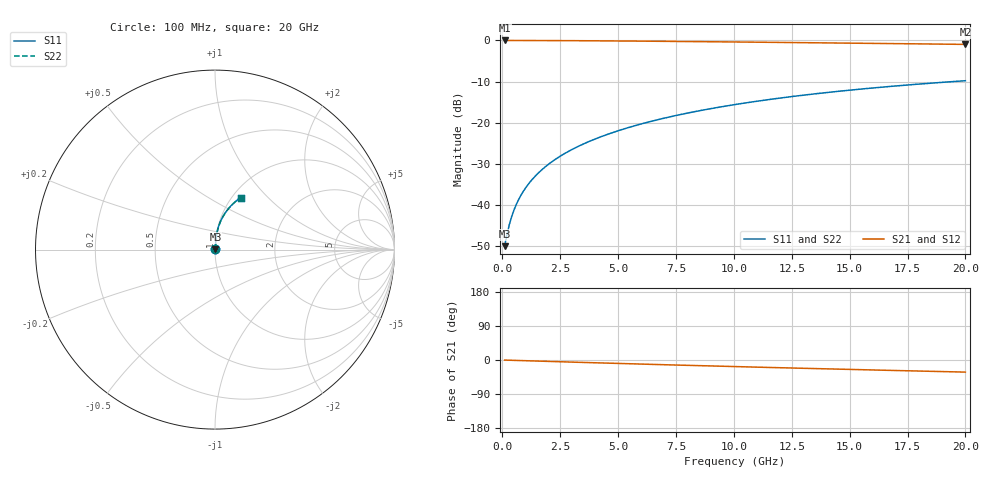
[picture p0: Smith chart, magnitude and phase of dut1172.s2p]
! Touchstone file exported from HFSS 2024.1.0
!  File:  C:/UserFiles/LocalFiles/RDL_TSV_Batchsim/temp_RDL_top_1172_1780048910.aedt
!  Generated:  06:04:07 PM May 29, 2026
!  Design:  RDL_top
!  Project:  temp_RDL_top_1172_1780048910
!  Setup:  Setup1
!  Solution:  Sweep
! Variables:
!  dtsv = 10.80580581um
!  hbump = 3um
!  htsv = 74.77um
!  ldown = 100um
!  lrdl = 424.38um
!  p = 40
!  p1 = 48.78um
!  rhole = 1um
!  t = 450um
!  tdown = 3.915915916um
!  trdl = 3.01um
!  wdown = 15.38538539um
!  wrdl = 20.31um
# GHz S MA R 50.000000
! Terminal data exported
! Port[1] = Box2_T1
! Port[2] = Box2_T2
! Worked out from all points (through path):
!   200 points, 100 MHz to 20 GHz, reference 50 ohm
!   highest |S21| = -0.02 dB at 100 MHz (marker M1); lowest = -1.0 dB at 20 GHz (marker M2)
!   group delay of S21, straight-line fit = 4.41 ps
!   lowest |S11| = -50.0 dB at 100 MHz (marker M3), VSWR 1.01, Z = 50.3 + j0.17 ohm
!   |S11| at or under -10 dB: start of sweep to 19.48 GHz
!   |S22| runs from -50.0 to -9.8 dB; largest |S21 - S12| = 3.2e-15
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0.1  0.003168 32.3  0.9973 -0.2  0.9973 -0.2  0.003168 32.3
! Gamma 0 0 0 0
! Port Impedance 50 0 50 0
0.2  0.004344 50.5  0.9972 -0.4  0.9972 -0.4  0.004344 50.5
0.3  0.005733 59.9  0.9971 -0.6  0.9971 -0.6  0.005733 59.9
0.4  0.007178 65.4  0.9969 -0.8  0.9969 -0.8  0.007178 65.4
0.5  0.008639 69.1  0.9968 -1.0  0.9968 -1.0  0.008639 69.1
0.6  0.01011 71.8  0.9967 -1.1  0.9967 -1.1  0.01011 71.8
0.8  0.01307 75.4  0.9964 -1.5  0.9964 -1.5  0.01307 75.4
1.1  0.01756 78.7  0.996 -2.1  0.996 -2.1  0.01756 78.7
1.3  0.02059 80.1  0.9957 -2.4  0.9957 -2.4  0.02059 80.1
1.6  0.02518 81.6  0.9951 -3.0  0.9951 -3.0  0.02518 81.6
2.1  0.03292 83.0  0.9941 -3.9  0.9941 -3.9  0.03292 83.0
2.7  0.04236 83.9  0.9925 -5.0  0.9925 -5.0  0.04236 83.9
3.5  0.05516 84.4  0.9898 -6.4  0.9898 -6.4  0.05516 84.4
4.2  0.06656 84.3  0.9871 -7.7  0.9871 -7.7  0.06656 84.4
5  0.07982 84.0  0.9836 -9.1  0.9836 -9.1  0.07982 84.0
5.9  0.09496 83.4  0.9792 -10.6  0.9792 -10.6  0.09496 83.4
6.8  0.1103 82.5  0.9746 -12.1  0.9746 -12.1  0.1103 82.5
8.4  0.1378 80.6  0.9657 -14.8  0.9657 -14.8  0.1378 80.6
10.1  0.1671 78.3  0.9558 -17.5  0.9558 -17.5  0.1671 78.3
13.4  0.2226 73.4  0.9357 -22.5  0.9357 -22.5  0.2226 73.5
16.7  0.275 68.5  0.9148 -27.3  0.9148 -27.3  0.275 68.5
20  0.3235 63.6  0.8935 -31.9  0.8935 -31.9  0.3236 63.6
